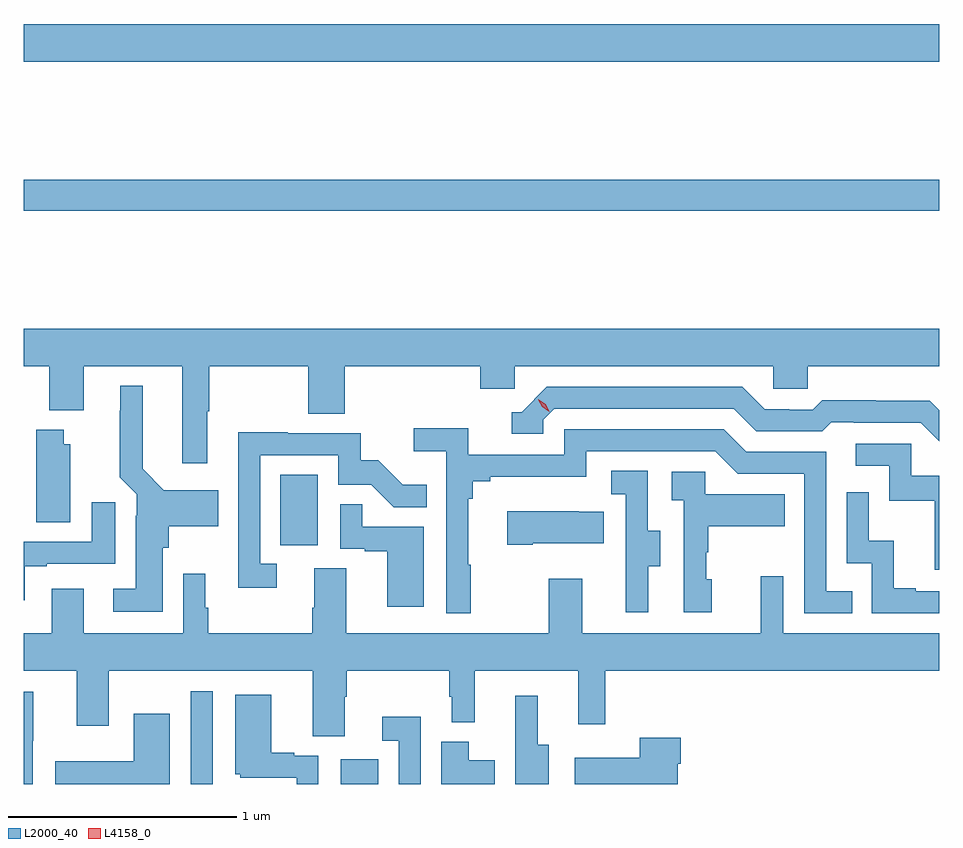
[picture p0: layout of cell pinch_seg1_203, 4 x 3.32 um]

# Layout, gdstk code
import gdstk
lib = gdstk.Library(unit=1e-6, precision=1e-09)
def R(c, l, rs):  # rectangles x0, y0, x1, y1
    for r in rs: c.add(gdstk.rectangle(r[:2], r[2:], *l))
def P(c, l, *ps):  # polygons
    for p in ps: c.add(gdstk.Polygon(p, *l))
L2000_40 = (2000, 40)
L4158_0 = (4158, 0)

pinch_seg1_203 = lib.new_cell('pinch_seg1_203')
R(pinch_seg1_203, L2000_40, [(985.884,576.546,985.98,576.952), (986.54,576.546,986.704,576.655), (986.276,577.59,986.44,577.897), (985.155,579.052,989.155,579.188), (985.155,579.704,989.155,579.868)])
P(pinch_seg1_203, L2000_40, [(985.957,578.176),(985.965,578.176),(985.965,578.372),(986.398,578.372),(986.398,578.164),(986.558,578.164),(986.558,578.372),(987.149,578.372),(987.149,578.274),(987.3,578.274),(987.3,578.372),(988.431,578.372),(988.431,578.274),(988.581,578.274),(988.581,578.372),(989.155,578.372),(989.155,578.536),(985.155,578.536),(985.155,578.372),(985.265,578.372),(985.265,578.18),(985.417,578.18),(985.417,578.372),(985.847,578.372),(985.847,577.947),(985.957,577.947)],
  [(985.762,577.578),(985.788,577.578),(985.788,577.673),(986.005,577.673),(986.005,577.831),(985.767,577.831),(985.675,577.924),(985.675,578.287),(985.577,578.287),(985.577,578.177),(985.573,578.177),(985.573,577.886),(985.647,577.812),(985.647,577.718),(985.643,577.718),(985.643,577.399),(985.545,577.399),(985.545,577.298),(985.762,577.298)],
  [(989.155,578.18),(989.114,578.221),(988.878,578.221),(988.878,578.224),(988.645,578.224),(988.603,578.181),(988.5,578.181),(988.5,578.184),(988.393,578.184),(988.294,578.283),(987.441,578.283),(987.33,578.172),(987.287,578.172),(987.287,578.076),(987.426,578.076),(987.426,578.139),(987.474,578.187),(988.257,578.187),(988.356,578.088),(988.645,578.088),(988.684,578.127),(988.783,578.127),(988.783,578.124),(989.076,578.124),(989.155,578.045)],
  [(987.109,577.505),(987.097,577.505),(987.097,577.793),(987.116,577.793),(987.116,577.87),(987.193,577.87),(987.193,577.889),(987.612,577.889),(987.612,578.001),(988.176,578.001),(988.275,577.902),(988.566,577.902),(988.566,577.293),(988.775,577.293),(988.775,577.389),(988.662,577.389),(988.662,577.998),(988.312,577.998),(988.213,578.097),(987.516,578.097),(987.516,577.986),(987.098,577.986),(987.098,578.102),(986.859,578.102),(986.859,578),(987,578),(987,577.293),(987.109,577.293)],
  [(985.357,578.031),(985.33,578.031),(985.33,578.095),(985.208,578.095),(985.208,577.69),(985.357,577.69)],
  [(986.26,577.509),(986.187,577.509),(986.187,577.983),(986.529,577.983),(986.529,577.854),(986.673,577.854),(986.771,577.756),(986.915,577.756),(986.915,577.855),(986.811,577.855),(986.704,577.962),(986.628,577.962),(986.628,578.079),(986.309,578.079),(986.309,578.084),(986.091,578.084),(986.091,577.404),(986.26,577.404)],
  [(989.155,577.893),(989.034,577.893),(989.034,578.034),(988.791,578.034),(988.791,577.938),(988.938,577.938),(988.938,577.785),(989.137,577.785),(989.137,577.482),(989.155,577.482)],
  [(987.883,577.498),(987.937,577.498),(987.937,577.653),(987.882,577.653),(987.882,577.916),(987.723,577.916),(987.723,577.813),(987.786,577.813),(987.786,577.509),(987.785,577.509),(987.785,577.296),(987.883,577.296)],
  [(988.162,577.44),(988.137,577.44),(988.137,577.559),(988.147,577.559),(988.147,577.673),(988.481,577.673),(988.481,577.813),(988.134,577.813),(988.134,577.911),(987.987,577.911),(987.987,577.787),(988.038,577.787),(988.038,577.296),(988.162,577.296)],
  [(989.155,577.389),(989.053,577.389),(989.053,577.402),(988.958,577.402),(988.958,577.61),(988.848,577.61),(988.848,577.822),(988.752,577.822),(988.752,577.512),(988.86,577.512),(988.86,577.293),(989.155,577.293)],
  [(985.159,577.497),(985.255,577.497),(985.255,577.509),(985.555,577.509),(985.555,577.777),(985.451,577.777),(985.451,577.605),(985.155,577.605),(985.155,577.35),(985.159,577.35)],
  [(986.902,577.671),(986.633,577.671),(986.633,577.769),(986.538,577.769),(986.538,577.575),(986.645,577.575),(986.645,577.563),(986.744,577.563),(986.744,577.32),(986.902,577.32)],
  [(987.379,577.598),(987.689,577.598),(987.689,577.735),(987.581,577.735),(987.581,577.738),(987.267,577.738),(987.267,577.591),(987.379,577.591)],
  [(986.557,576.928),(986.565,576.928),(986.565,577.04),(987.015,577.04),(987.015,576.928),(987.026,576.928),(987.026,576.815),(987.125,576.815),(987.125,577.04),(987.578,577.04),(987.578,576.807),(987.695,576.807),(987.695,577.04),(989.155,577.04),(989.155,577.204),(988.473,577.204),(988.473,577.453),(988.376,577.453),(988.376,577.204),(987.595,577.204),(987.595,577.444),(987.448,577.444),(987.448,577.204),(986.563,577.204),(986.563,577.49),(986.423,577.49),(986.423,577.316),(986.416,577.316),(986.416,577.204),(985.96,577.204),(985.96,577.316),(985.948,577.316),(985.948,577.465),(985.851,577.465),(985.851,577.204),(985.417,577.204),(985.417,577.399),(985.277,577.399),(985.277,577.204),(985.155,577.204),(985.155,577.04),(985.385,577.04),(985.385,576.801),(985.525,576.801),(985.525,577.04),(986.417,577.04),(986.417,576.754),(986.557,576.754)],
  [(985.194,576.735),(985.196,576.735),(985.196,576.949),(985.155,576.949),(985.155,576.546),(985.194,576.546)],
  [(986.442,576.669),(986.336,576.669),(986.336,576.682),(986.236,576.682),(986.236,576.937),(986.078,576.937),(986.078,576.588),(986.1,576.588),(986.1,576.573),(986.347,576.573),(986.347,576.546),(986.442,576.546)],
  [(987.448,576.718),(987.401,576.718),(987.401,576.931),(987.302,576.931),(987.302,576.546),(987.448,576.546)],
  [(985.792,576.853),(985.634,576.853),(985.634,576.646),(985.291,576.646),(985.291,576.546),(985.792,576.546)],
  [(986.889,576.841),(986.721,576.841),(986.721,576.735),(986.793,576.735),(986.793,576.546),(986.889,576.546)],
  [(988.012,576.635),(988.025,576.635),(988.025,576.748),(987.847,576.748),(987.847,576.661),(987.563,576.661),(987.563,576.546),(988.012,576.546)],
  [(987.214,576.649),(987.1,576.649),(987.1,576.73),(986.978,576.73),(986.978,576.546),(987.214,576.546)])
P(pinch_seg1_203, L4158_0, [(987.451,578.173),(987.42,578.194),(987.404,578.226),(987.404,578.227),(987.404,578.227),(987.435,578.207),(987.451,578.174),(987.451,578.173)])

lib.write_gds('pinch_seg1_203.gds')
